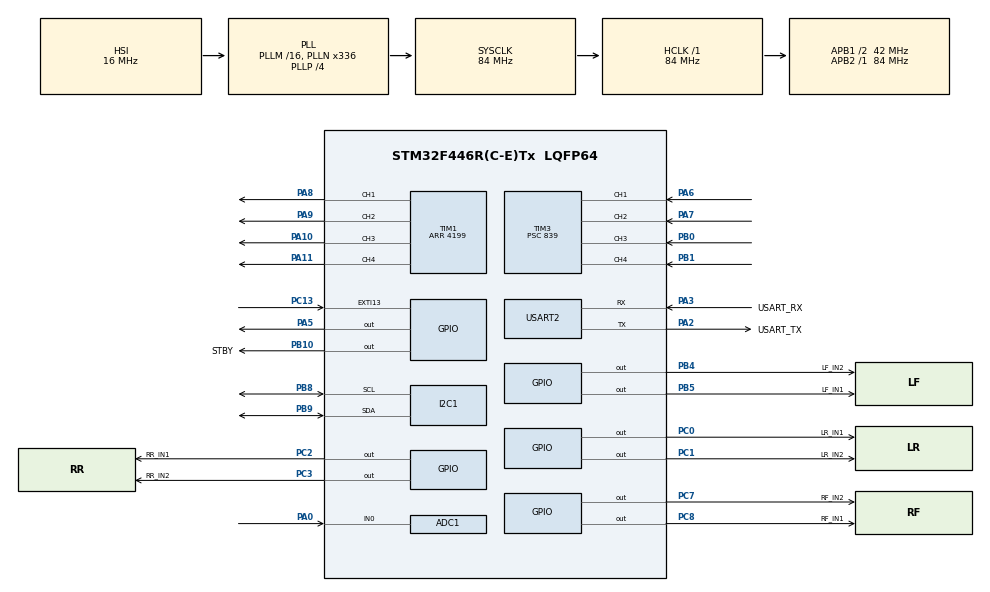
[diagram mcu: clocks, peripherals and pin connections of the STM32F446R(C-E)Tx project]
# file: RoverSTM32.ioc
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ADC1.Channel-0\#ChannelRegularConversion=ADC_CHANNEL_0
ADC1.NbrOfConversionFlag=1
ADC1.Rank-0\#ChannelRegularConversion=1
ADC1.SamplingTime-0\#ChannelRegularConversion=ADC_SAMPLETIME_84CYCLES
ADC1.master=1
Dma.Request0=USART2_TX
Dma.USART2_TX.0.Direction=DMA_MEMORY_TO_PERIPH
Dma.USART2_TX.0.FIFOMode=DMA_FIFOMODE_DISABLE
Dma.USART2_TX.0.Instance=DMA1_Stream6
Dma.USART2_TX.0.MemDataAlignment=DMA_MDATAALIGN_BYTE
Dma.USART2_TX.0.MemInc=DMA_MINC_ENABLE
Dma.USART2_TX.0.Mode=DMA_NORMAL
Dma.USART2_TX.0.PeriphDataAlignment=DMA_PDATAALIGN_BYTE
Dma.USART2_TX.0.PeriphInc=DMA_PINC_DISABLE
Dma.USART2_TX.0.Priority=DMA_PRIORITY_LOW
FREERTOS.Tasks01=defaultTask,24,128,StartDefaultTask,Default,NULL,Dynamic,NULL,NULL
FREERTOS.configUSE_NEWLIB_REENTRANT=1
Mcu.Family=STM32F4
Mcu.Name=STM32F446R(C-E)Tx
Mcu.Package=LQFP64
NUCLEO-F446RE.BUTTON=1
NUCLEO-F446RE.LD1=true
NVIC.DMA1_Stream6_IRQn=true\:5\:0\:false\:false\:true\:true\:false\:true\:true
NVIC.EXTI15_10_IRQn=true\:5\:0\:false\:false\:true\:true\:false\:true\:true
NVIC.PriorityGroup=NVIC_PRIORITYGROUP_4
NVIC.TIM3_IRQn=true\:5\:0\:false\:false\:true\:true\:true\:true\:true
NVIC.TIM6_DAC_IRQn=true\:15\:0\:true\:false\:true\:false\:false\:true\:true
NVIC.TimeBase=TIM6_DAC_IRQn
NVIC.TimeBaseIP=TIM6
NVIC.USART2_IRQn=true\:5\:0\:false\:false\:true\:true\:true\:true\:true
PA0-WKUP.Signal=ADCx_IN0
PA10.Signal=S_TIM1_CH3
PA11.Signal=S_TIM1_CH4
PA13.GPIO_Label=TMS
PA13.Mode=Serial_Wire
PA13.Signal=SYS_JTMS-SWDIO
PA14.GPIO_Label=TCK
PA14.Mode=Serial_Wire
PA14.Signal=SYS_JTCK-SWCLK
PA2.GPIO_Label=USART_TX
PA2.Mode=Asynchronous
PA2.Signal=USART2_TX
PA3.GPIO_Label=USART_RX
PA3.Mode=Asynchronous
PA3.Signal=USART2_RX
PA5.Signal=GPIO_Output
PA6.GPIO_PuPd=GPIO_PULLUP
PA6.Signal=S_TIM3_CH1
PA7.GPIO_PuPd=GPIO_PULLUP
PA7.Signal=S_TIM3_CH2
PA8.Signal=S_TIM1_CH1
PA9.Signal=S_TIM1_CH2
PB0.GPIO_PuPd=GPIO_PULLUP
PB0.Signal=S_TIM3_CH3
PB1.GPIO_PuPd=GPIO_PULLUP
PB1.Signal=S_TIM3_CH4
PB10.GPIO_Label=STBY
PB10.Signal=GPIO_Output
PB3.GPIO_Label=SWO
PB3.Signal=SYS_JTDO-SWO
PB4.GPIO_Label=LF_IN2
PB4.Signal=GPIO_Output
PB5.GPIO_Label=LF_IN1
PB5.Signal=GPIO_Output
PB8.Mode=I2C
PB8.Signal=I2C1_SCL
PB9.Mode=I2C
PB9.Signal=I2C1_SDA
PC0.GPIO_Label=LR_IN1
PC0.Signal=GPIO_Output
PC1.GPIO_Label=LR_IN2
PC1.Signal=GPIO_Output
PC13.Signal=GPXTI13
PC14-OSC32_IN.Signal=RCC_OSC32_IN
PC15-OSC32_OUT.Signal=RCC_OSC32_OUT
PC2.GPIO_Label=RR_IN1
PC2.Signal=GPIO_Output
PC3.GPIO_Label=RR_IN2
PC3.Signal=GPIO_Output
PC7.GPIO_Label=RF_IN2
PC7.Signal=GPIO_Output
PC8.GPIO_Label=RF_IN1
PC8.Signal=GPIO_Output
PH0-OSC_IN.Signal=RCC_OSC_IN
PH1-OSC_OUT.Signal=RCC_OSC_OUT
ProjectManager.HeapSize=0x200
ProjectManager.StackSize=0x400
ProjectManager.TargetToolchain=STM32CubeIDE
RCC.AHBFreq_Value=84000000
RCC.APB1CLKDivider=RCC_HCLK_DIV2
RCC.APB1Freq_Value=42000000
RCC.APB1TimFreq_Value=84000000
RCC.APB2Freq_Value=84000000
RCC.APB2TimFreq_Value=84000000
RCC.CortexFreq_Value=84000000
RCC.FLatency-AdvancedSettings=FLASH_LATENCY_2
RCC.HCLKFreq_Value=84000000
RCC.HSE_VALUE=8000000
RCC.HSI_VALUE=16000000
RCC.LSE_VALUE=32768
RCC.PLLN=336
RCC.PLLP=RCC_PLLP_DIV4
RCC.SYSCLKFreq_VALUE=84000000
RCC.SYSCLKSource=RCC_SYSCLKSOURCE_PLLCLK
RCC.USBFreq_Value=168000000
RCC.VCOOutputFreq_Value=336000000
SH.ADCx_IN0.0=ADC1_IN0,IN0
SH.S_TIM1_CH1.0=TIM1_CH1,PWM Generation1 CH1
SH.S_TIM1_CH2.0=TIM1_CH2,PWM Generation2 CH2
SH.S_TIM1_CH3.0=TIM1_CH3,PWM Generation3 CH3
SH.S_TIM1_CH4.0=TIM1_CH4,PWM Generation4 CH4
SH.S_TIM3_CH1.0=TIM3_CH1,Input_Capture1_from_TI1
SH.S_TIM3_CH2.0=TIM3_CH2,Input_Capture2_from_TI2
SH.S_TIM3_CH3.0=TIM3_CH3,Input_Capture3_from_TI3
SH.S_TIM3_CH4.0=TIM3_CH4,Input_Capture4_from_TI4
TIM1.Channel-PWM\ Generation1\ CH1=TIM_CHANNEL_1
TIM1.Channel-PWM\ Generation2\ CH2=TIM_CHANNEL_2
TIM1.Channel-PWM\ Generation3\ CH3=TIM_CHANNEL_3
TIM1.Channel-PWM\ Generation4\ CH4=TIM_CHANNEL_4
TIM1.Period=4199
TIM3.Channel-Input_Capture1_from_TI1=TIM_CHANNEL_1
TIM3.Channel-Input_Capture2_from_TI2=TIM_CHANNEL_2
TIM3.Channel-Input_Capture3_from_TI3=TIM_CHANNEL_3
TIM3.Channel-Input_Capture4_from_TI4=TIM_CHANNEL_4
TIM3.ICFilter_CH1=15
TIM3.ICFilter_CH2=15
TIM3.ICFilter_CH3=15
TIM3.ICFilter_CH4=15
TIM3.Prescaler=839
USART2.VirtualMode=VM_ASYNC
VP_FREERTOS_VS_CMSIS_V2.Mode=CMSIS_V2
VP_NUCLEO-F446RE_VS_BSP_COMMON.Mode=COMMON
VP_SYS_VS_tim6.Mode=TIM6
board=NUCLEO-F446RE

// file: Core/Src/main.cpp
/* USER CODE BEGIN Header */
/**
  ******************************************************************************
  * @file           : main.c
  * @brief          : Main program body
  ******************************************************************************
  * @attention
  *
  * Copyright (c) 2026 STMicroelectronics.
  * All rights reserved.
  *
  * This software is licensed under terms that can be found in the LICENSE file
  * in the root directory of this software component.
  * If no LICENSE file comes with this software, it is provided AS-IS.
  *
  ******************************************************************************
  */
/* USER CODE END Header */
#include "main.h"
#include "cmsis_os.h"

/* USER CODE BEGIN Includes */
#include "Icm20948.h"
#include "PiLink.h"
#include "MotorTest.h"
#include "WheelSensor.h"
#include "task.h"
#include <cstdio>
#include <cmath>

/* USER CODE END Includes */

ADC_HandleTypeDef hadc1;

I2C_HandleTypeDef hi2c1;

TIM_HandleTypeDef htim1;
TIM_HandleTypeDef htim3;

UART_HandleTypeDef huart2;
DMA_HandleTypeDef hdma_usart2_tx;

/* Definitions for defaultTask */
osThreadId_t defaultTaskHandle;
const osThreadAttr_t defaultTask_attributes = {
  .name = "defaultTask",
  .stack_size = 128 * 4,
  .priority = (osPriority_t) osPriorityNormal,
};

void SystemClock_Config(void);
static void MX_GPIO_Init(void);
static void MX_DMA_Init(void);
static void MX_I2C1_Init(void);
static void MX_ADC1_Init(void);
static void MX_TIM1_Init(void);
static void MX_USART2_UART_Init(void);
static void MX_TIM3_Init(void);
void StartDefaultTask(void *argument);

/* USER CODE BEGIN 0 */
static void LedBlinkTask(void* argument)
	{
	    for (;;)
	    {
	        HAL_GPIO_TogglePin(LED2_GPIO_PORT, LED2_PIN);
	        vTaskDelay(pdMS_TO_TICKS(100));

	    }
	}

static void ImuTask(void* argument)
{
    Icm20948* imu = static_cast<Icm20948*>(argument);

    float alpha = 0.98f;
    uint32_t last_time_ms = HAL_GetTick();

    float ax, ay, az, gx, gy, gz, mx, my, mz;

    bool magOk = imu->readMagnetometer(mx, my, mz);

    float mag_heading = atan2(my, mx);
    float yaw = mag_heading;

    for (;;)
    {
    	uint32_t now_ms = HAL_GetTick();
    	float dt = (now_ms - last_time_ms) / 1000.0f;
    	last_time_ms = now_ms;

        bool readOk = imu->readAccelGyro(ax, ay, az, gx, gy, gz);
        magOk = imu->readMagnetometer(mx, my, mz);

        if (!readOk || !magOk) {
            // skip this iteration entirely — don't update yaw with bad data
            vTaskDelay(pdMS_TO_TICKS(20));
            continue;
        }

        float ax_ms2 = ax * 9.81;
        float ay_ms2 = ay * 9.81;
        float az_ms2 = az * 9.81;

        float gyro_x_rads = gx * (M_PI / 180.0f);
        float gyro_y_rads = gy * (M_PI / 180.0f);
        float gyro_z_rads = gz * (M_PI / 180.0f);

        mag_heading = atan2(my, mx);

        float predicted_yaw = yaw + gyro_z_rads * dt;

        float error = mag_heading - predicted_yaw;

        // Wrap error into [-π, +π] so we always correct via the shortest angular path
        while (error > M_PI)  error -= 2.0f * M_PI;
        while (error < -M_PI) error += 2.0f * M_PI;

        yaw = predicted_yaw + (1.0f - alpha) * error;
        //yaw = alpha * (yaw + gyro_z_rads * dt) + (1.0f - alpha) * mag_heading;

        PiLink::sendImuFrame(now_ms, yaw, gyro_x_rads, gyro_y_rads, gyro_z_rads, ax_ms2, ay_ms2, az_ms2);

        vTaskDelay(pdMS_TO_TICKS(20));
    }
}
/* USER CODE END 0 */

int main(void)
{

  /* MCU Configuration--------------------------------------------------------*/

  /* Reset of all peripherals, Initializes the Flash interface and the Systick. */
  HAL_Init();

  /* Configure the system clock */
  SystemClock_Config();

  /* Initialize all configured peripherals */
  MX_GPIO_Init();
  MX_DMA_Init();
  MX_I2C1_Init();
  MX_ADC1_Init();
  MX_TIM1_Init();
  MX_USART2_UART_Init();
  MX_TIM3_Init();
  /* USER CODE BEGIN 2 */

  static Icm20948 imu(&hi2c1);
                  //bool imuOk = imu.checkWhoAmI();

                  imu.wake();
                  imu.configureAccelGyro();

                  imu.enableMagnetometerBypass();
                  imu.configureMagnetometer();

                  xTaskCreate(LedBlinkTask, "LedBlink", 128, NULL, tskIDLE_PRIORITY + 1, NULL);

                  xTaskCreate(ImuTask, "ImuTask", 512, &imu, tskIDLE_PRIORITY + 1, NULL);

                  xTaskCreate(MotorTestTask, "MotorTest", 256, NULL, tskIDLE_PRIORITY + 1, NULL);

                  PiLink::init();

                  WheelSensor_Init();

  /* USER CODE END 2 */

  /* Init scheduler */
  osKernelInitialize();

  /* Create the thread(s) */
  /* creation of defaultTask */
  defaultTaskHandle = osThreadNew(StartDefaultTask, NULL, &defaultTask_attributes);

  /* Initialize leds */
  BSP_LED_Init(LED2);

  /* Initialize USER push-button, will be used to trigger an interrupt each time it's pressed.*/
  BSP_PB_Init(BUTTON_USER, BUTTON_MODE_EXTI);

  /* Start scheduler */
  osKernelStart();

  /* We should never get here as control is now taken by the scheduler */

  /* Infinite loop */
  while (1)
  {

  }
}

void SystemClock_Config(void)
{
  RCC_OscInitTypeDef RCC_OscInitStruct = {0};
  RCC_ClkInitTypeDef RCC_ClkInitStruct = {0};

  /** Configure the main internal regulator output voltage
  */
  __HAL_RCC_PWR_CLK_ENABLE();
  __HAL_PWR_VOLTAGESCALING_CONFIG(PWR_REGULATOR_VOLTAGE_SCALE3);

  /** Initializes the RCC Oscillators according to the specified parameters
  * in the RCC_OscInitTypeDef structure.
  */
  RCC_OscInitStruct.OscillatorType = RCC_OSCILLATORTYPE_HSI;
  RCC_OscInitStruct.HSIState = RCC_HSI_ON;
  RCC_OscInitStruct.HSICalibrationValue = RCC_HSICALIBRATION_DEFAULT;
  RCC_OscInitStruct.PLL.PLLState = RCC_PLL_ON;
  RCC_OscInitStruct.PLL.PLLSource = RCC_PLLSOURCE_HSI;
  RCC_OscInitStruct.PLL.PLLM = 16;
  RCC_OscInitStruct.PLL.PLLN = 336;
  RCC_OscInitStruct.PLL.PLLP = RCC_PLLP_DIV4;
  RCC_OscInitStruct.PLL.PLLQ = 2;
  RCC_OscInitStruct.PLL.PLLR = 2;
  if (HAL_RCC_OscConfig(&RCC_OscInitStruct) != HAL_OK)
  {
    Error_Handler();
  }

  /** Initializes the CPU, AHB and APB buses clocks
  */
  RCC_ClkInitStruct.ClockType = RCC_CLOCKTYPE_HCLK|RCC_CLOCKTYPE_SYSCLK
                              |RCC_CLOCKTYPE_PCLK1|RCC_CLOCKTYPE_PCLK2;
  RCC_ClkInitStruct.SYSCLKSource = RCC_SYSCLKSOURCE_PLLCLK;
  RCC_ClkInitStruct.AHBCLKDivider = RCC_SYSCLK_DIV1;
  RCC_ClkInitStruct.APB1CLKDivider = RCC_HCLK_DIV2;
  RCC_ClkInitStruct.APB2CLKDivider = RCC_HCLK_DIV1;

  if (HAL_RCC_ClockConfig(&RCC_ClkInitStruct, FLASH_LATENCY_2) != HAL_OK)
  {
    Error_Handler();
  }
}

static void MX_ADC1_Init(void)
{

  ADC_ChannelConfTypeDef sConfig = {0};

  /** Configure the global features of the ADC (Clock, Resolution, Data Alignment and number of conversion)
  */
  hadc1.Instance = ADC1;
  hadc1.Init.ClockPrescaler = ADC_CLOCK_SYNC_PCLK_DIV4;
  hadc1.Init.Resolution = ADC_RESOLUTION_12B;
  hadc1.Init.ScanConvMode = DISABLE;
  hadc1.Init.ContinuousConvMode = DISABLE;
  hadc1.Init.DiscontinuousConvMode = DISABLE;
  hadc1.Init.ExternalTrigConvEdge = ADC_EXTERNALTRIGCONVEDGE_NONE;
  hadc1.Init.ExternalTrigConv = ADC_SOFTWARE_START;
  hadc1.Init.DataAlign = ADC_DATAALIGN_RIGHT;
  hadc1.Init.NbrOfConversion = 1;
  hadc1.Init.DMAContinuousRequests = DISABLE;
  hadc1.Init.EOCSelection = ADC_EOC_SINGLE_CONV;
  if (HAL_ADC_Init(&hadc1) != HAL_OK)
  {
    Error_Handler();
  }

  /** Configure for the selected ADC regular channel its corresponding rank in the sequencer and its sample time.
  */
  sConfig.Channel = ADC_CHANNEL_0;
  sConfig.Rank = 1;
  sConfig.SamplingTime = ADC_SAMPLETIME_84CYCLES;
  if (HAL_ADC_ConfigChannel(&hadc1, &sConfig) != HAL_OK)
  {
    Error_Handler();
  }

}

static void MX_I2C1_Init(void)
{

  hi2c1.Instance = I2C1;
  hi2c1.Init.ClockSpeed = 100000;
  hi2c1.Init.DutyCycle = I2C_DUTYCYCLE_2;
  hi2c1.Init.OwnAddress1 = 0;
  hi2c1.Init.AddressingMode = I2C_ADDRESSINGMODE_7BIT;
  hi2c1.Init.DualAddressMode = I2C_DUALADDRESS_DISABLE;
  hi2c1.Init.OwnAddress2 = 0;
  hi2c1.Init.GeneralCallMode = I2C_GENERALCALL_DISABLE;
  hi2c1.Init.NoStretchMode = I2C_NOSTRETCH_DISABLE;
  if (HAL_I2C_Init(&hi2c1) != HAL_OK)
  {
    Error_Handler();
  }

}

static void MX_TIM1_Init(void)
{

  TIM_MasterConfigTypeDef sMasterConfig = {0};
  TIM_OC_InitTypeDef sConfigOC = {0};
  TIM_BreakDeadTimeConfigTypeDef sBreakDeadTimeConfig = {0};

  htim1.Instance = TIM1;
  htim1.Init.Prescaler = 0;
  htim1.Init.CounterMode = TIM_COUNTERMODE_UP;
  htim1.Init.Period = 4199;
  htim1.Init.ClockDivision = TIM_CLOCKDIVISION_DIV1;
  htim1.Init.RepetitionCounter = 0;
  htim1.Init.AutoReloadPreload = TIM_AUTORELOAD_PRELOAD_DISABLE;
  if (HAL_TIM_PWM_Init(&htim1) != HAL_OK)
  {
    Error_Handler();
  }
  sMasterConfig.MasterOutputTrigger = TIM_TRGO_RESET;
  sMasterConfig.MasterSlaveMode = TIM_MASTERSLAVEMODE_DISABLE;
  if (HAL_TIMEx_MasterConfigSynchronization(&htim1, &sMasterConfig) != HAL_OK)
  {
    Error_Handler();
  }
  sConfigOC.OCMode = TIM_OCMODE_PWM1;
  sConfigOC.Pulse = 0;
  sConfigOC.OCPolarity = TIM_OCPOLARITY_HIGH;
  sConfigOC.OCNPolarity = TIM_OCNPOLARITY_HIGH;
  sConfigOC.OCFastMode = TIM_OCFAST_DISABLE;
  sConfigOC.OCIdleState = TIM_OCIDLESTATE_RESET;
  sConfigOC.OCNIdleState = TIM_OCNIDLESTATE_RESET;
  if (HAL_TIM_PWM_ConfigChannel(&htim1, &sConfigOC, TIM_CHANNEL_1) != HAL_OK)
  {
    Error_Handler();
  }
  if (HAL_TIM_PWM_ConfigChannel(&htim1, &sConfigOC, TIM_CHANNEL_2) != HAL_OK)
  {
    Error_Handler();
  }
  if (HAL_TIM_PWM_ConfigChannel(&htim1, &sConfigOC, TIM_CHANNEL_3) != HAL_OK)
  {
    Error_Handler();
  }
  if (HAL_TIM_PWM_ConfigChannel(&htim1, &sConfigOC, TIM_CHANNEL_4) != HAL_OK)
  {
    Error_Handler();
  }
  sBreakDeadTimeConfig.OffStateRunMode = TIM_OSSR_DISABLE;
  sBreakDeadTimeConfig.OffStateIDLEMode = TIM_OSSI_DISABLE;
  sBreakDeadTimeConfig.LockLevel = TIM_LOCKLEVEL_OFF;
  sBreakDeadTimeConfig.DeadTime = 0;
  sBreakDeadTimeConfig.BreakState = TIM_BREAK_DISABLE;
  sBreakDeadTimeConfig.BreakPolarity = TIM_BREAKPOLARITY_HIGH;
  sBreakDeadTimeConfig.AutomaticOutput = TIM_AUTOMATICOUTPUT_DISABLE;
  if (HAL_TIMEx_ConfigBreakDeadTime(&htim1, &sBreakDeadTimeConfig) != HAL_OK)
  {
    Error_Handler();
  }
  HAL_TIM_MspPostInit(&htim1);

}

static void MX_TIM3_Init(void)
{

  TIM_MasterConfigTypeDef sMasterConfig = {0};
  TIM_IC_InitTypeDef sConfigIC = {0};

  htim3.Instance = TIM3;
  htim3.Init.Prescaler = 839;
  htim3.Init.CounterMode = TIM_COUNTERMODE_UP;
  htim3.Init.Period = 65535;
  htim3.Init.ClockDivision = TIM_CLOCKDIVISION_DIV1;
  htim3.Init.AutoReloadPreload = TIM_AUTORELOAD_PRELOAD_DISABLE;
  if (HAL_TIM_IC_Init(&htim3) != HAL_OK)
  {
    Error_Handler();
  }
  sMasterConfig.MasterOutputTrigger = TIM_TRGO_RESET;
  sMasterConfig.MasterSlaveMode = TIM_MASTERSLAVEMODE_DISABLE;
  if (HAL_TIMEx_MasterConfigSynchronization(&htim3, &sMasterConfig) != HAL_OK)
  {
    Error_Handler();
  }
  sConfigIC.ICPolarity = TIM_INPUTCHANNELPOLARITY_RISING;
  sConfigIC.ICSelection = TIM_ICSELECTION_DIRECTTI;
  sConfigIC.ICPrescaler = TIM_ICPSC_DIV1;
  sConfigIC.ICFilter = 15;
  if (HAL_TIM_IC_ConfigChannel(&htim3, &sConfigIC, TIM_CHANNEL_1) != HAL_OK)
  {
    Error_Handler();
  }
  if (HAL_TIM_IC_ConfigChannel(&htim3, &sConfigIC, TIM_CHANNEL_2) != HAL_OK)
  {
    Error_Handler();
  }
  if (HAL_TIM_IC_ConfigChannel(&htim3, &sConfigIC, TIM_CHANNEL_3) != HAL_OK)
  {
    Error_Handler();
  }
  if (HAL_TIM_IC_ConfigChannel(&htim3, &sConfigIC, TIM_CHANNEL_4) != HAL_OK)
  {
    Error_Handler();
  }

}

static void MX_USART2_UART_Init(void)
{

  huart2.Instance = USART2;
  huart2.Init.BaudRate = 115200;
  huart2.Init.WordLength = UART_WORDLENGTH_8B;
  huart2.Init.StopBits = UART_STOPBITS_1;
  huart2.Init.Parity = UART_PARITY_NONE;
  huart2.Init.Mode = UART_MODE_TX_RX;
  huart2.Init.HwFlowCtl = UART_HWCONTROL_NONE;
  huart2.Init.OverSampling = UART_OVERSAMPLING_16;
  if (HAL_UART_Init(&huart2) != HAL_OK)
  {
    Error_Handler();
  }
  /* USER CODE BEGIN USART2_Init 2 */

  HAL_NVIC_SetPriority(USART2_IRQn, 5, 0);
              HAL_NVIC_EnableIRQ(USART2_IRQn);

              hdma_usart2_tx.Instance = DMA1_Stream6;
              hdma_usart2_tx.Init.Channel = DMA_CHANNEL_4;
              hdma_usart2_tx.Init.Direction = DMA_MEMORY_TO_PERIPH;
              hdma_usart2_tx.Init.PeriphInc = DMA_PINC_DISABLE;
              hdma_usart2_tx.Init.MemInc = DMA_MINC_ENABLE;
              hdma_usart2_tx.Init.PeriphDataAlignment = DMA_PDATAALIGN_BYTE;
              hdma_usart2_tx.Init.MemDataAlignment = DMA_MDATAALIGN_BYTE;
              hdma_usart2_tx.Init.Mode = DMA_NORMAL;
              hdma_usart2_tx.Init.Priority = DMA_PRIORITY_LOW;
              hdma_usart2_tx.Init.FIFOMode = DMA_FIFOMODE_DISABLE;
              if (HAL_DMA_Init(&hdma_usart2_tx) != HAL_OK)
              {
            	  Error_Handler();
              }

              __HAL_LINKDMA(&huart2, hdmatx, hdma_usart2_tx);

  /* USER CODE END USART2_Init 2 */

}

static void MX_DMA_Init(void)
{

  /* DMA controller clock enable */
  __HAL_RCC_DMA1_CLK_ENABLE();

  /* DMA interrupt init */
  /* DMA1_Stream6_IRQn interrupt configuration */
  HAL_NVIC_SetPriority(DMA1_Stream6_IRQn, 5, 0);
  HAL_NVIC_EnableIRQ(DMA1_Stream6_IRQn);

}

static void MX_GPIO_Init(void)
{
  GPIO_InitTypeDef GPIO_InitStruct = {0};

  /* GPIO Ports Clock Enable */
  __HAL_RCC_GPIOC_CLK_ENABLE();
  __HAL_RCC_GPIOH_CLK_ENABLE();
  __HAL_RCC_GPIOA_CLK_ENABLE();
  __HAL_RCC_GPIOB_CLK_ENABLE();

  /*Configure GPIO pin Output Level */
  HAL_GPIO_WritePin(GPIOC, LR_IN1_Pin|LR_IN2_Pin|RR_IN1_Pin|RR_IN2_Pin
                          |RF_IN2_Pin|RF_IN1_Pin, GPIO_PIN_RESET);

  /*Configure GPIO pin Output Level */
  HAL_GPIO_WritePin(GPIOB, STBY_Pin|LF_IN2_Pin|LF_IN1_Pin, GPIO_PIN_RESET);

  /*Configure GPIO pins : LR_IN1_Pin LR_IN2_Pin RR_IN1_Pin RR_IN2_Pin
                           RF_IN2_Pin RF_IN1_Pin */
  GPIO_InitStruct.Pin = LR_IN1_Pin|LR_IN2_Pin|RR_IN1_Pin|RR_IN2_Pin
                          |RF_IN2_Pin|RF_IN1_Pin;
  GPIO_InitStruct.Mode = GPIO_MODE_OUTPUT_PP;
  GPIO_InitStruct.Pull = GPIO_NOPULL;
  GPIO_InitStruct.Speed = GPIO_SPEED_FREQ_LOW;
  HAL_GPIO_Init(GPIOC, &GPIO_InitStruct);

  /*Configure GPIO pins : STBY_Pin LF_IN2_Pin LF_IN1_Pin */
  GPIO_InitStruct.Pin = STBY_Pin|LF_IN2_Pin|LF_IN1_Pin;
  GPIO_InitStruct.Mode = GPIO_MODE_OUTPUT_PP;
  GPIO_InitStruct.Pull = GPIO_NOPULL;
  GPIO_InitStruct.Speed = GPIO_SPEED_FREQ_LOW;
  HAL_GPIO_Init(GPIOB, &GPIO_InitStruct);

}

/* USER CODE BEGIN 4 */
void HAL_UART_TxCpltCallback(UART_HandleTypeDef *huart)
{
	if (huart->Instance == USART2) {
		PiLink::onTxComplete();
	}
}
/* USER CODE END 4 */

void StartDefaultTask(void *argument)
{
  for(;;)
  {
    osDelay(1);
  }
}

void HAL_TIM_PeriodElapsedCallback(TIM_HandleTypeDef *htim)
{
  if (htim->Instance == TIM6)
  {
    HAL_IncTick();
  }
}

void Error_Handler(void)
{
  __disable_irq();
  while (1)
  {
  }
}
